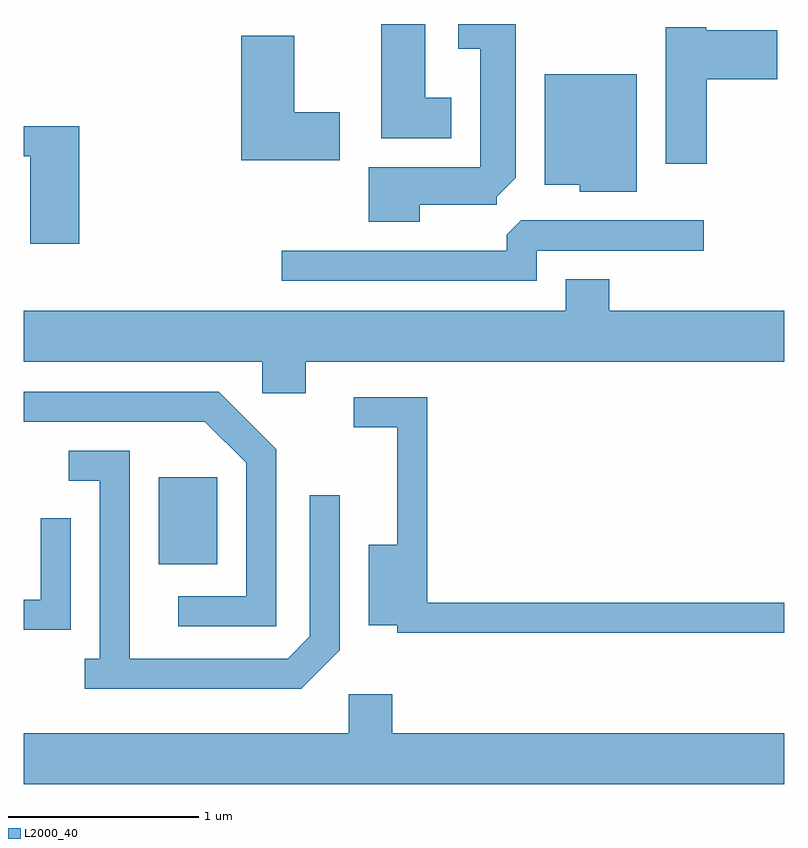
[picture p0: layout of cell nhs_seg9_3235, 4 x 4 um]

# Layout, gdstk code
import gdstk
lib = gdstk.Library(unit=1e-6, precision=1e-09)
def R(c, l, rs):  # rectangles x0, y0, x1, y1
    for r in rs: c.add(gdstk.rectangle(r[:2], r[2:], *l))
def P(c, l, *ps):  # polygons
    for p in ps: c.add(gdstk.Polygon(p, *l))
L2000_40 = (2000, 40)

nhs_seg9_3235 = lib.new_cell('nhs_seg9_3235')
R(nhs_seg9_3235, L2000_40, [(280.321,2039.591,280.629,2040.049)])
P(nhs_seg9_3235, L2000_40, [(281.859,2042.044),(281.724,2042.044),(281.724,2042.432),(281.491,2042.432),(281.491,2041.831),(281.859,2041.831)],
  [(281.694,2041.481),(282.099,2041.481),(282.099,2041.524),(282.199,2041.624),(282.199,2042.432),(281.896,2042.432),(281.896,2042.301),(282.011,2042.301),(282.011,2041.679),(281.426,2041.679),(281.426,2041.391),(281.694,2041.391)],
  [(283.204,2042.141),(283.574,2042.141),(283.574,2042.399),(283.2,2042.399),(283.2,2042.414),(282.986,2042.414),(282.986,2041.696),(283.204,2041.696)],
  [(281.274,2041.969),(281.034,2041.969),(281.034,2042.369),(280.756,2042.369),(280.756,2041.716),(281.274,2041.716)],
  [(282.834,2042.169),(282.351,2042.169),(282.351,2041.586),(282.536,2041.586),(282.536,2041.551),(282.834,2041.551)],
  [(279.904,2041.894),(279.611,2041.894),(279.611,2041.736),(279.646,2041.736),(279.646,2041.276),(279.904,2041.276)],
  [(282.309,2041.241),(283.188,2041.241),(283.188,2041.399),(282.227,2041.399),(282.151,2041.324),(282.151,2041.239),(280.968,2041.239),(280.968,2041.081),(282.309,2041.081)],
  [(281.094,2040.656),(283.611,2040.656),(283.611,2040.924),(282.689,2040.924),(282.689,2041.089),(282.461,2041.089),(282.461,2040.924),(279.611,2040.924),(279.611,2040.656),(280.866,2040.656),(280.866,2040.491),(281.094,2040.491)],
  [(280.939,2040.197),(280.637,2040.499),(279.611,2040.499),(279.611,2040.341),(280.564,2040.341),(280.781,2040.124),(280.781,2039.424),(280.423,2039.424),(280.423,2039.266),(280.939,2039.266)],
  [(283.611,2039.389),(281.734,2039.389),(281.734,2040.469),(281.348,2040.469),(281.348,2040.311),(281.576,2040.311),(281.576,2039.694),(281.426,2039.694),(281.426,2039.271),(281.576,2039.271),(281.576,2039.231),(283.611,2039.231)],
  [(281.274,2039.139),(281.274,2039.953),(281.116,2039.953),(281.116,2039.212),(280.999,2039.094),(280.169,2039.094),(280.169,2040.189),(279.848,2040.189),(279.848,2040.031),(280.011,2040.031),(280.011,2039.094),(279.933,2039.094),(279.933,2038.936),(281.072,2038.936)],
  [(279.859,2039.833),(279.701,2039.833),(279.701,2039.404),(279.611,2039.404),(279.611,2039.246),(279.859,2039.246)],
  [(283.611,2038.704),(281.549,2038.704),(281.549,2038.909),(281.321,2038.909),(281.321,2038.704),(279.611,2038.704),(279.611,2038.436),(283.611,2038.436)])

lib.write_gds('nhs_seg9_3235.gds')
